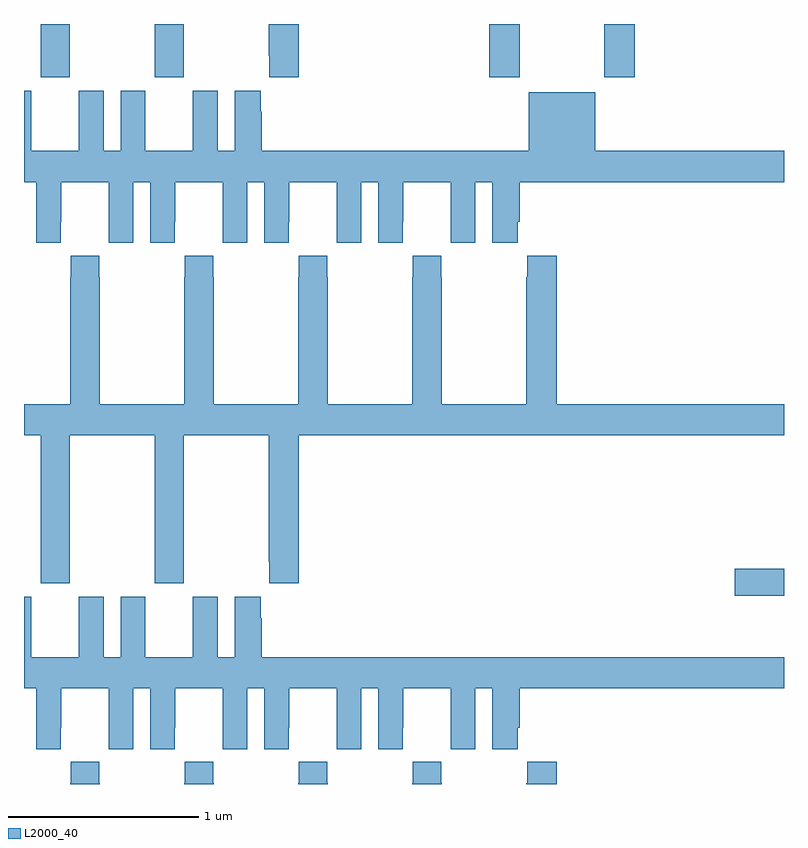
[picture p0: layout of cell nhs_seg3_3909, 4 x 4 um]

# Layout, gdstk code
import gdstk
lib = gdstk.Library(unit=1e-6, precision=1e-09)
def R(c, l, rs):  # rectangles x0, y0, x1, y1
    for r in rs: c.add(gdstk.rectangle(r[:2], r[2:], *l))
def P(c, l, *ps):  # polygons
    for p in ps: c.add(gdstk.Polygon(p, *l))
L2000_40 = (2000, 40)

nhs_seg3_3909 = lib.new_cell('nhs_seg3_3909')
R(nhs_seg3_3909, L2000_40, [(316.74,713.392,317,713.534), (313.087,716.121,313.242,716.4), (313.687,716.121,313.842,716.4), (315.449,716.121,315.609,716.4), (316.054,716.121,316.214,716.4)])
P(nhs_seg3_3909, L2000_40, [(314.447,716.4),(314.287,716.4),(314.287,716.233),(314.291,716.233),(314.291,716.121),(314.447,716.121)],
  [(313.194,715.36),(313.195,715.36),(313.195,715.568),(313.445,715.568),(313.445,715.36),(313.446,715.36),(313.446,715.248),(313.576,715.248),(313.576,715.568),(313.664,715.568),(313.664,715.248),(313.794,715.248),(313.794,715.36),(313.795,715.36),(313.795,715.568),(314.045,715.568),(314.045,715.36),(314.046,715.36),(314.046,715.248),(314.176,715.248),(314.176,715.568),(314.264,715.568),(314.264,715.248),(314.394,715.248),(314.394,715.36),(314.395,715.36),(314.395,715.568),(314.645,715.568),(314.645,715.36),(314.646,715.36),(314.646,715.248),(314.776,715.248),(314.776,715.568),(314.864,715.568),(314.864,715.248),(314.994,715.248),(314.994,715.36),(314.995,715.36),(314.995,715.568),(315.245,715.568),(315.245,715.36),(315.246,715.36),(315.246,715.248),(315.376,715.248),(315.376,715.568),(315.464,715.568),(315.464,715.248),(315.598,715.248),(315.598,715.36),(315.608,715.36),(315.608,715.568),(317,715.568),(317,715.732),(316.006,715.732),(316.006,716.041),(315.656,716.041),(315.656,715.732),(314.252,715.732),(314.252,715.937),(314.245,715.937),(314.245,716.05),(314.108,716.05),(314.108,715.732),(314.02,715.732),(314.02,716.05),(313.889,716.05),(313.889,715.732),(313.639,715.732),(313.639,716.05),(313.508,716.05),(313.508,715.732),(313.42,715.732),(313.42,716.05),(313.289,716.05),(313.289,715.732),(313.039,715.732),(313.039,716.05),(313,716.05),(313,715.568),(313.064,715.568),(313.064,715.248),(313.194,715.248)],
  [(313.242,714.236),(313.687,714.236),(313.687,713.457),(313.842,713.457),(313.842,714.236),(314.287,714.236),(314.287,713.569),(314.291,713.569),(314.291,713.457),(314.447,713.457),(314.447,714.236),(317,714.236),(317,714.4),(315.803,714.4),(315.803,715.18),(315.649,715.18),(315.649,715.067),(315.643,715.067),(315.643,714.4),(315.198,714.4),(315.198,715.067),(315.195,715.067),(315.195,715.18),(315.045,715.18),(315.045,715.067),(315.043,715.067),(315.043,714.4),(314.598,714.4),(314.598,715.067),(314.595,715.067),(314.595,715.18),(314.445,715.18),(314.445,715.067),(314.443,715.067),(314.443,714.4),(313.998,714.4),(313.998,715.067),(313.995,715.067),(313.995,715.18),(313.845,715.18),(313.845,715.067),(313.843,715.067),(313.843,714.4),(313.398,714.4),(313.398,715.067),(313.395,715.067),(313.395,715.18),(313.245,715.18),(313.245,715.067),(313.243,715.067),(313.243,714.4),(313,714.4),(313,714.236),(313.087,714.236),(313.087,713.457),(313.242,713.457)],
  [(313.194,712.696),(313.195,712.696),(313.195,712.904),(313.445,712.904),(313.445,712.696),(313.446,712.696),(313.446,712.584),(313.576,712.584),(313.576,712.904),(313.664,712.904),(313.664,712.584),(313.794,712.584),(313.794,712.696),(313.795,712.696),(313.795,712.904),(314.045,712.904),(314.045,712.696),(314.046,712.696),(314.046,712.584),(314.176,712.584),(314.176,712.904),(314.264,712.904),(314.264,712.584),(314.394,712.584),(314.394,712.696),(314.395,712.696),(314.395,712.904),(314.645,712.904),(314.645,712.696),(314.646,712.696),(314.646,712.584),(314.776,712.584),(314.776,712.904),(314.864,712.904),(314.864,712.584),(314.994,712.584),(314.994,712.696),(314.995,712.696),(314.995,712.904),(315.245,712.904),(315.245,712.696),(315.246,712.696),(315.246,712.584),(315.376,712.584),(315.376,712.904),(315.464,712.904),(315.464,712.584),(315.598,712.584),(315.598,712.696),(315.608,712.696),(315.608,712.904),(317,712.904),(317,713.068),(314.252,713.068),(314.252,713.273),(314.245,713.273),(314.245,713.386),(314.108,713.386),(314.108,713.068),(314.02,713.068),(314.02,713.386),(313.889,713.386),(313.889,713.068),(313.639,713.068),(313.639,713.386),(313.508,713.386),(313.508,713.068),(313.42,713.068),(313.42,713.386),(313.289,713.386),(313.289,713.068),(313.039,713.068),(313.039,713.386),(313,713.386),(313,712.904),(313.064,712.904),(313.064,712.584),(313.194,712.584)],
  [(314.598,712.403),(314.595,712.403),(314.595,712.516),(314.445,712.516),(314.445,712.403),(314.443,712.403),(314.443,712.4),(314.598,712.4)],
  [(315.803,712.516),(315.649,712.516),(315.649,712.403),(315.643,712.403),(315.643,712.4),(315.803,712.4)],
  [(315.198,712.403),(315.195,712.403),(315.195,712.516),(315.045,712.516),(315.045,712.403),(315.043,712.403),(315.043,712.4),(315.198,712.4)],
  [(313.998,712.403),(313.995,712.403),(313.995,712.516),(313.845,712.516),(313.845,712.403),(313.843,712.403),(313.843,712.4),(313.998,712.4)],
  [(313.398,712.403),(313.395,712.403),(313.395,712.516),(313.245,712.516),(313.245,712.403),(313.243,712.403),(313.243,712.4),(313.398,712.4)])

lib.write_gds('nhs_seg3_3909.gds')
